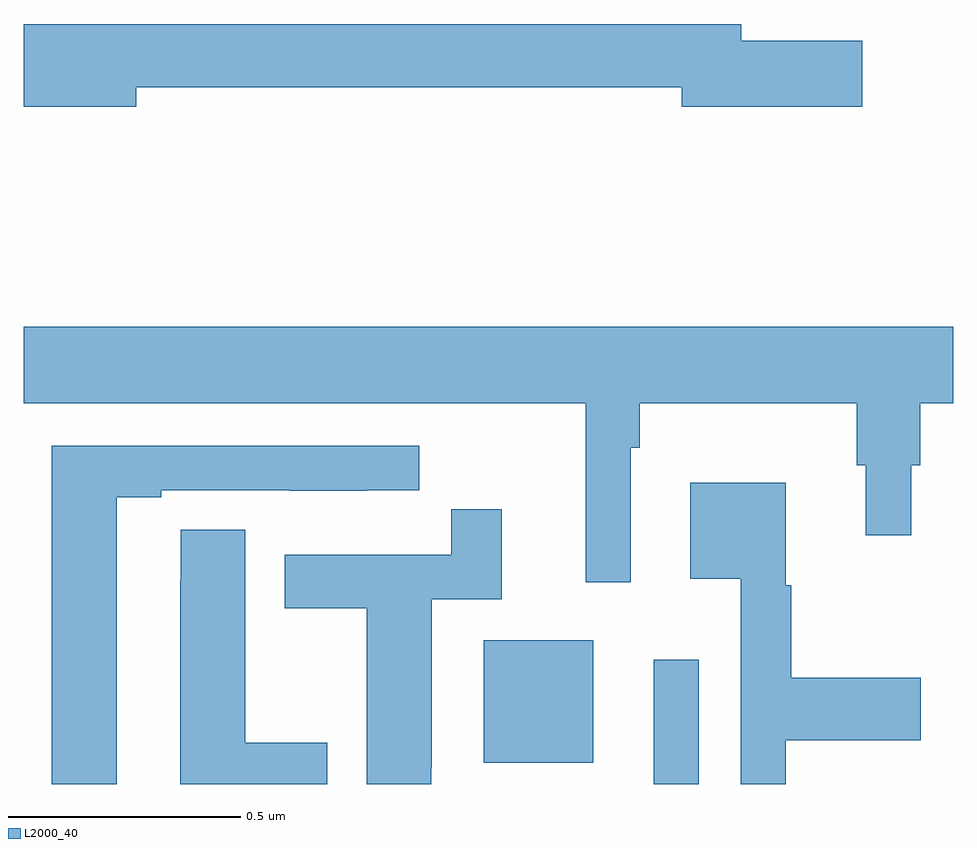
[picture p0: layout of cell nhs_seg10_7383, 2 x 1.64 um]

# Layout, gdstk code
import gdstk
lib = gdstk.Library(unit=1e-6, precision=1e-09)
def R(c, l, rs):  # rectangles x0, y0, x1, y1
    for r in rs: c.add(gdstk.rectangle(r[:2], r[2:], *l))
def P(c, l, *ps):  # polygons
    for p in ps: c.add(gdstk.Polygon(p, *l))
L2000_40 = (2000, 40)

nhs_seg10_7383 = lib.new_cell('nhs_seg10_7383')
R(nhs_seg10_7383, L2000_40, [(204.356,1295.5,204.453,1295.767), (203.99,1295.546,204.226,1295.809)])
P(nhs_seg10_7383, L2000_40, [(203.242,1297),(204.416,1297),(204.416,1296.958),(204.805,1296.958),(204.805,1297.1),(204.544,1297.1),(204.544,1297.136),(203,1297.136),(203,1296.958),(203.242,1296.958)],
  [(204.306,1296.224),(204.326,1296.224),(204.326,1296.32),(204.793,1296.32),(204.793,1296.186),(204.812,1296.186),(204.812,1296.036),(204.91,1296.036),(204.91,1296.186),(204.929,1296.186),(204.929,1296.32),(205,1296.32),(205,1296.484),(203,1296.484),(203,1296.32),(204.209,1296.32),(204.209,1295.934),(204.306,1295.934)],
  [(203.2,1296.117),(203.296,1296.117),(203.296,1296.132),(203.572,1296.132),(203.572,1296.131),(203.738,1296.131),(203.738,1296.132),(203.851,1296.132),(203.851,1296.228),(203.06,1296.228),(203.06,1295.5),(203.2,1295.5)],
  [(204.64,1295.594),(204.931,1295.594),(204.931,1295.729),(204.652,1295.729),(204.652,1295.928),(204.64,1295.928),(204.64,1296.148),(204.434,1296.148),(204.434,1295.942),(204.543,1295.942),(204.543,1295.5),(204.64,1295.5)],
  [(203.877,1295.536),(203.878,1295.536),(203.878,1295.898),(204.029,1295.898),(204.029,1296.091),(203.92,1296.091),(203.92,1295.994),(203.561,1295.994),(203.561,1295.878),(203.738,1295.878),(203.738,1295.5),(203.877,1295.5)],
  [(203.653,1295.589),(203.476,1295.589),(203.476,1296.047),(203.337,1296.047),(203.337,1295.939),(203.336,1295.939),(203.336,1295.5),(203.653,1295.5)])

lib.write_gds('nhs_seg10_7383.gds')
